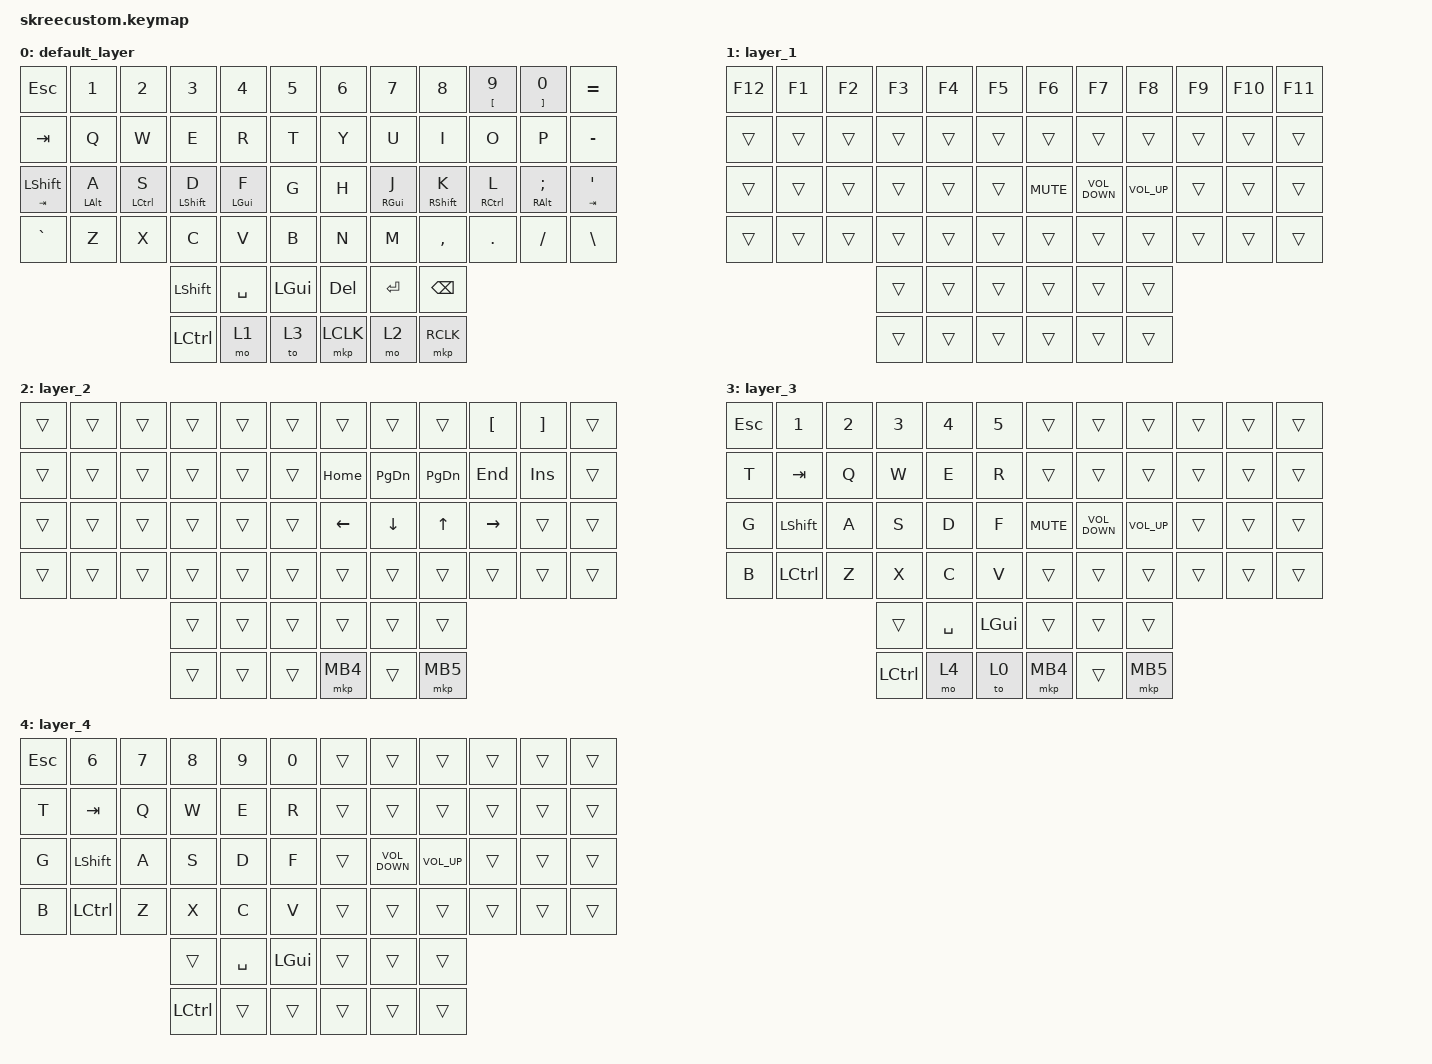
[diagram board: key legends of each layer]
/*
 * Copyright (c) 2020 The ZMK Contributors
 *
 * SPDX-License-Identifier: MIT
 */

#include <input/processors.dtsi>
#include <dt-bindings/zmk/input_transform.h>
#include <behaviors.dtsi>
#include <dt-bindings/zmk/keys.h>
#include <dt-bindings/zmk/pointing.h>

/ {
    behaviors {
        // Home row mods, timing-only (no positional restriction, so same-hand
        // mod+key combos still work).
        //   balanced            -> a tap fully nested inside the hold counts as
        //                          a mod no matter how fast; a roll (mod key
        //                          released before the next key) stays a tap.
        //   require-prior-idle  -> if you pressed any key < N ms ago, force a
        //                          tap (you're mid-flow). Modern name for the
        //                          old global-quick-tap. Lower = snappier mods.
        //   tapping-term        -> mainly the held-alone timeout. 160-200 is the
        //                          usual range; lower = faster holds, slightly
        //                          more misfire-prone.
        hm: homerow_mods {
            compatible = "zmk,behavior-hold-tap";
            #binding-cells = <2>;
            flavor = "balanced";
            tapping-term-ms = <180>;
            require-prior-idle-ms = <150>;
            quick-tap-ms = <175>;
            bindings = <&kp>, <&kp>;
        };
    };

    keymap {
        compatible = "zmk,keymap";

        default_layer {
            bindings = <
&kp ESC             &kp N1          &kp N2              &kp N3            &kp N4          &kp N5      &kp N6     &kp N7           &kp N8             &mt LEFT_BRACKET N9  &mt RIGHT_BRACKET N0     &kp EQUAL
&kp TAB             &kp Q           &kp W               &kp E             &kp R           &kp T       &kp Y      &kp U            &kp I              &kp O                &kp P                    &kp MINUS
&mt TAB LEFT_SHIFT  &hm LEFT_ALT A  &hm LEFT_CONTROL S  &hm LEFT_SHIFT D  &hm LEFT_GUI F  &kp G       &kp H      &hm RIGHT_GUI J  &hm RIGHT_SHIFT K  &hm RIGHT_CONTROL L  &hm RIGHT_ALT SEMICOLON  &mt TAB SQT
&kp GRAVE           &kp Z           &kp X               &kp C             &kp V           &kp B       &kp N      &kp M            &kp COMMA          &kp DOT              &kp FSLH                 &kp BSLH

                                                        &kp LSHFT         &kp SPACE       &kp LGUI    &kp DEL    &kp RET          &kp BACKSPACE
                                                        &kp LCTRL         &mo 1           &to 3       &mkp LCLK  &mo 2            &mkp RCLK
            >;
        };

        layer_1 {
            bindings = <
&kp F12  &kp F1  &kp F2  &kp F3  &kp F4  &kp F5    &kp F6      &kp F7             &kp F8           &kp F9  &kp F10  &kp F11
&trans   &trans  &trans  &trans  &trans  &trans    &trans      &trans             &trans           &trans  &trans   &trans
&trans   &trans  &trans  &trans  &trans  &trans    &kp K_MUTE  &kp K_VOLUME_DOWN  &kp K_VOLUME_UP  &trans  &trans   &trans
&trans   &trans  &trans  &trans  &trans  &trans    &trans      &trans             &trans           &trans  &trans   &trans

                         &trans  &trans  &trans    &trans      &trans             &trans
                         &trans  &trans  &trans    &trans      &trans             &trans
            >;
        };

        layer_2 {
            bindings = <
&trans  &trans  &trans  &trans  &trans  &trans    &trans          &trans         &trans         &kp LEFT_BRACKET  &kp RIGHT_BRACKET  &trans
&trans  &trans  &trans  &trans  &trans  &trans    &kp HOME        &kp PAGE_DOWN  &kp PAGE_DOWN  &kp END           &kp INS            &trans
&trans  &trans  &trans  &trans  &trans  &trans    &kp LEFT_ARROW  &kp DOWN       &kp UP_ARROW   &kp RIGHT         &trans             &trans
&trans  &trans  &trans  &trans  &trans  &trans    &trans          &trans         &trans         &trans            &trans             &trans

                        &trans  &trans  &trans    &trans          &trans         &trans
                        &trans  &trans  &trans    &mkp MB4        &trans         &mkp MB5
            >;
        };

        layer_3 {
            bindings = <
&kp ESC  &kp N1            &kp N2  &kp N3     &kp N4     &kp N5      &trans      &trans             &trans           &trans  &trans  &trans
&kp T    &kp TAB           &kp Q   &kp W      &kp E      &kp R       &trans      &trans             &trans           &trans  &trans  &trans
&kp G    &kp LEFT_SHIFT    &kp A   &kp S      &kp D      &kp F       &kp K_MUTE  &kp K_VOLUME_DOWN  &kp K_VOLUME_UP  &trans  &trans  &trans
&kp B    &kp LEFT_CONTROL  &kp Z   &kp X      &kp C      &kp V       &trans      &trans             &trans           &trans  &trans  &trans

                                   &trans     &kp SPACE  &kp LGUI    &trans      &trans             &trans
                                   &kp LCTRL  &mo 4      &to 0       &mkp MB4    &trans             &mkp MB5
            >;
        };

        layer_4 {
            bindings = <
&kp ESC  &kp N6     &kp N7  &kp N8     &kp N9     &kp N0      &trans  &trans             &trans           &trans  &trans  &trans
&kp T    &kp TAB    &kp Q   &kp W      &kp E      &kp R       &trans  &trans             &trans           &trans  &trans  &trans
&kp G    &kp LSHFT  &kp A   &kp S      &kp D      &kp F       &trans  &kp K_VOLUME_DOWN  &kp K_VOLUME_UP  &trans  &trans  &trans
&kp B    &kp LCTRL  &kp Z   &kp X      &kp C      &kp V       &trans  &trans             &trans           &trans  &trans  &trans

                            &trans     &kp SPACE  &kp LGUI    &trans  &trans             &trans
                            &kp LCTRL  &trans     &trans      &trans  &trans             &trans
            >;
        };
    };
};

// //right hand trackball overrides
// &trackball_peripheral_listener {
//     input-processors =
//         <&zip_xy_transform INPUT_TRANSFORM_XY_SWAP>,//this gets it to the default installation orientation
//         <&zip_temp_layer 3 500>;//activate layer 3 within 500ms of the trackball moving
// };
// //left hand trackball overrides
// &trackball_central_listener {
//     input-processors = 
//         <&zip_xy_transform INPUT_TRANSFORM_XY_SWAP>,//this gets it to the default installation orientation
//         <&zip_xy_scaler 1 3>,//multiply sensitivity by 1, divide by 3 (make it slower for scrolling)
//         <&zip_xy_to_scroll_mapper>,//make this trackball output scrolling events by default instead of cursor movement
//         <&zip_scroll_transform INPUT_TRANSFORM_Y_INVERT>;//invert vertical scrolling so that the view moves in the same direction as the top of the trackball.
// };
